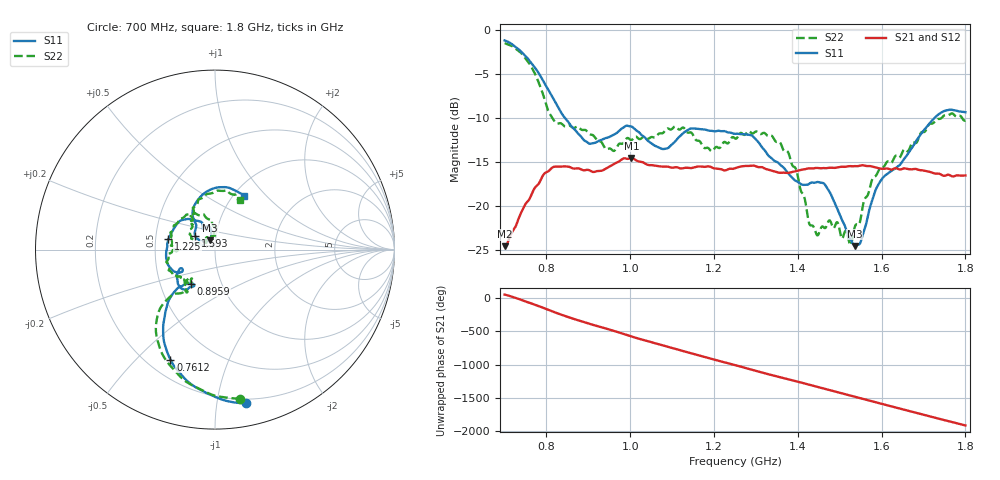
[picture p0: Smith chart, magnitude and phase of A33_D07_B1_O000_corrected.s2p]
! Created with skrf 1.9.0 (http://scikit-rf.org).
# Hz S RI R 50.0
!freq ReS11 ImS11 ReS21 ImS21 ReS12 ImS12 ReS22 ImS22
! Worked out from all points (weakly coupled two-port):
!   1601 points, 700 MHz to 1.8 GHz, reference 50 ohm
!   highest |S21| = -14.54 dB at 1.002 GHz (marker M1); lowest = -24.5 dB at 700 MHz (marker M2)
!   lowest |S11| = -24.5 dB at 1.536 GHz (marker M3), VSWR 1.13, Z = 47.1 + j5 ohm
!   |S11| at or under -10 dB: 844.4 MHz to 1.726 GHz (881.4 MHz wide, 68.6 % of centre)
!   |S22| runs from -24.4 to -1.5 dB; largest |S21 - S12| = 0.0035
!   S11 on the Smith chart (normalised r, x): 700 MHz: 0.17, -1.21; 761.2 MHz: 0.29, -0.63; 895.9 MHz: 0.72, -0.29; 1.225 GHz: 0.58, +0.08; 1.593 GHz: 0.79, +0.12; 1.8 GHz: 1.12, +0.76
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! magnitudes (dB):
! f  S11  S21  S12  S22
! 700 MHz  -1.2  -24.5  -24.3  -1.5
! 761.2 MHz  -3.6  -19.0  -18.9  -4.0
! 818.9 MHz  -8.0  -15.5  -15.6  -10.4
! 883.6 MHz  -12.2  -15.8  -15.7  -11.3
! 895.9 MHz  -12.7  -15.9  -16.0  -11.5
! 958.5 MHz  -11.9  -15.3  -15.3  -13.7
! 1.002 GHz  -11.0  -14.5  -14.6  -12.5
! 1.067 GHz  -13.3  -15.5  -15.4  -11.8
! 1.144 GHz  -11.2  -15.7  -15.7  -11.6
! 1.225 GHz  -11.5  -15.9  -15.9  -12.7
! 1.25 GHz  -11.8  -15.7  -15.6  -12.3
! 1.357 GHz  -15.3  -16.2  -16.2  -12.7
! 1.396 GHz  -17.1  -16.0  -16.0  -15.8
! 1.434 GHz  -17.3  -15.7  -15.7  -22.2
! 1.468 GHz  -17.8  -15.7  -15.7  -22.3
! 1.525 GHz  -23.7  -15.5  -15.5  -24.4
! 1.536 GHz  -24.5  -15.5  -15.5  -22.4
! 1.551 GHz  -23.9  -15.4  -15.4  -21.1
! 1.593 GHz  -17.5  -15.7  -15.7  -15.9
! 1.617 GHz  -16.2  -15.8  -15.7  -14.9
! 1.734 GHz  -9.6  -16.3  -16.3  -10.1
! 1.8 GHz  -9.3  -16.5  -16.5  -10.3
